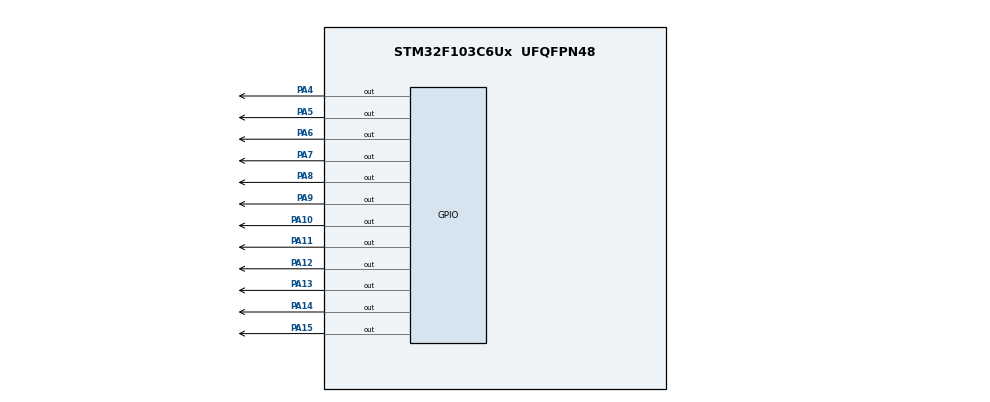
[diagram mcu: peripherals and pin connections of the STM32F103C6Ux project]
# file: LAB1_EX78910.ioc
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Mcu.Family=STM32F1
Mcu.Name=STM32F103C6Ux
Mcu.Package=UFQFPN48
NVIC.PriorityGroup=NVIC_PRIORITYGROUP_4
PA10.Signal=GPIO_Output
PA11.Signal=GPIO_Output
PA12.Signal=GPIO_Output
PA13.Signal=GPIO_Output
PA14.Signal=GPIO_Output
PA15.Signal=GPIO_Output
PA4.Signal=GPIO_Output
PA5.Signal=GPIO_Output
PA6.Signal=GPIO_Output
PA7.Signal=GPIO_Output
PA8.Signal=GPIO_Output
PA9.Signal=GPIO_Output
ProjectManager.HeapSize=0x200
ProjectManager.StackSize=0x400
ProjectManager.TargetToolchain=STM32CubeIDE
RCC.APB1Freq_Value=8000000
RCC.APB2Freq_Value=8000000
VP_SYS_VS_ND.Mode=No_Debug
board=custom

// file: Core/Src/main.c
/* USER CODE BEGIN Header */
/**
  ******************************************************************************
  * @file           : main.c
  * @brief          : Main program body
  ******************************************************************************
  * @attention
  *
  * <h2><center>&copy; Copyright (c) 2025 STMicroelectronics.
  * All rights reserved.</center></h2>
  *
  * This software component is licensed by ST under BSD 3-Clause license,
  * the "License"; You may not use this file except in compliance with the
  * License. You may obtain a copy of the License at:
  *                        opensource.org/licenses/BSD-3-Clause
  *
  ******************************************************************************
  */
/* USER CODE END Header */
#include "main.h"

void SystemClock_Config(void);
static void MX_GPIO_Init(void);

/* USER CODE BEGIN 0 */
	uint16_t pins[12] = {
		GPIO_PIN_4, GPIO_PIN_5, GPIO_PIN_6, GPIO_PIN_7,
		GPIO_PIN_8, GPIO_PIN_9, GPIO_PIN_10, GPIO_PIN_11,
		GPIO_PIN_12, GPIO_PIN_13, GPIO_PIN_14, GPIO_PIN_15
	};

	void clearAllClock() {
	    HAL_GPIO_WritePin(GPIOA,
	        GPIO_PIN_4 | GPIO_PIN_5 | GPIO_PIN_6 | GPIO_PIN_7 |
	        GPIO_PIN_8 | GPIO_PIN_9 | GPIO_PIN_10 | GPIO_PIN_11 |
	        GPIO_PIN_12 | GPIO_PIN_13 | GPIO_PIN_14 | GPIO_PIN_15,
	        GPIO_PIN_SET);
	}

	void setNumberOnClock(int num) {
	    if (num < 0 || num > 11) return;
	    HAL_GPIO_WritePin(GPIOA, pins[num], GPIO_PIN_RESET);
	}

	void clearNumberOnClock(int num) {
	    if (num < 0 || num > 11) return;
	    HAL_GPIO_WritePin(GPIOA, pins[num], GPIO_PIN_SET);
	}

/* USER CODE END 0 */

int main(void)
{

  /* MCU Configuration--------------------------------------------------------*/

  /* Reset of all peripherals, Initializes the Flash interface and the Systick. */
  HAL_Init();

  /* Configure the system clock */
  SystemClock_Config();

  /* Initialize all configured peripherals */
  MX_GPIO_Init();

  /* Infinite loop */
  /* USER CODE BEGIN WHILE */

  int hour = 3;
  int minute = 29;
  int second = 45;

  while (1)
  {
	    clearAllClock();

	    setNumberOnClock(hour % 12);
	    setNumberOnClock((minute / 5) % 12);
	    setNumberOnClock((second / 5) % 12);

	    HAL_Delay(1000);
	    second++;

	    if (second >= 60) {
	        second = 0;
	        minute++;
	        if (minute >= 60) {
	            minute = 0;
	            hour++;
	            if (hour >= 12) hour = 0;
	        }
	    }
    /* USER CODE END WHILE */

  }
}

void SystemClock_Config(void)
{
  RCC_OscInitTypeDef RCC_OscInitStruct = {0};
  RCC_ClkInitTypeDef RCC_ClkInitStruct = {0};

  /** Initializes the RCC Oscillators according to the specified parameters
  * in the RCC_OscInitTypeDef structure.
  */
  RCC_OscInitStruct.OscillatorType = RCC_OSCILLATORTYPE_HSI;
  RCC_OscInitStruct.HSIState = RCC_HSI_ON;
  RCC_OscInitStruct.HSICalibrationValue = RCC_HSICALIBRATION_DEFAULT;
  RCC_OscInitStruct.PLL.PLLState = RCC_PLL_NONE;
  if (HAL_RCC_OscConfig(&RCC_OscInitStruct) != HAL_OK)
  {
    Error_Handler();
  }
  /** Initializes the CPU, AHB and APB buses clocks
  */
  RCC_ClkInitStruct.ClockType = RCC_CLOCKTYPE_HCLK|RCC_CLOCKTYPE_SYSCLK
                              |RCC_CLOCKTYPE_PCLK1|RCC_CLOCKTYPE_PCLK2;
  RCC_ClkInitStruct.SYSCLKSource = RCC_SYSCLKSOURCE_HSI;
  RCC_ClkInitStruct.AHBCLKDivider = RCC_SYSCLK_DIV1;
  RCC_ClkInitStruct.APB1CLKDivider = RCC_HCLK_DIV1;
  RCC_ClkInitStruct.APB2CLKDivider = RCC_HCLK_DIV1;

  if (HAL_RCC_ClockConfig(&RCC_ClkInitStruct, FLASH_LATENCY_0) != HAL_OK)
  {
    Error_Handler();
  }
}

static void MX_GPIO_Init(void)
{
  GPIO_InitTypeDef GPIO_InitStruct = {0};

  /* GPIO Ports Clock Enable */
  __HAL_RCC_GPIOA_CLK_ENABLE();

  /*Configure GPIO pin Output Level */
  HAL_GPIO_WritePin(GPIOA, GPIO_PIN_4|GPIO_PIN_5|GPIO_PIN_6|GPIO_PIN_7
                          |GPIO_PIN_8|GPIO_PIN_9|GPIO_PIN_10|GPIO_PIN_11
                          |GPIO_PIN_12|GPIO_PIN_13|GPIO_PIN_14|GPIO_PIN_15, GPIO_PIN_RESET);

  /*Configure GPIO pins : PA4 PA5 PA6 PA7
                           PA8 PA9 PA10 PA11
                           PA12 PA13 PA14 PA15 */
  GPIO_InitStruct.Pin = GPIO_PIN_4|GPIO_PIN_5|GPIO_PIN_6|GPIO_PIN_7
                          |GPIO_PIN_8|GPIO_PIN_9|GPIO_PIN_10|GPIO_PIN_11
                          |GPIO_PIN_12|GPIO_PIN_13|GPIO_PIN_14|GPIO_PIN_15;
  GPIO_InitStruct.Mode = GPIO_MODE_OUTPUT_PP;
  GPIO_InitStruct.Pull = GPIO_NOPULL;
  GPIO_InitStruct.Speed = GPIO_SPEED_FREQ_LOW;
  HAL_GPIO_Init(GPIOA, &GPIO_InitStruct);

}

void Error_Handler(void)
{
  __disable_irq();
  while (1)
  {
  }
}

/************************ (C) COPYRIGHT STMicroelectronics *****END OF FILE****/
